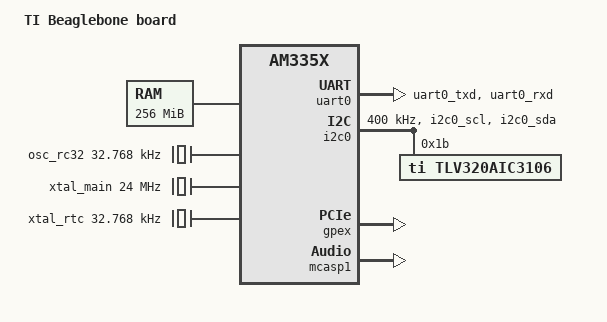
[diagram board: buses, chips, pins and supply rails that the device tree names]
/*
 * beaglebone.dts
 *
 *  Created on: Feb 6, 2018
 *      Author: Zhengrong Liu<towering@126.com>
 */

/dts-v1/;
#include "skeleton.dtsi"
/ {
        model = "TI Beaglebone board";
        compatible = "ti,am335x";

	aliases {
		serial0 = &uart0;
	};

        chosen {
                bootargs = "earlyprintk rdinit=/sbin/init debug";
                stdout-path = "serial0:115200n8";
        };

	memory@8000000 {
		device_type = "memory";
                reg = <0x80000000 0x10000000>; /* 256 MB */
        };

	soc {
		#address-cells = <1>;
		#size-cells = <1>;
		compatible = "simple-bus";
		ranges;
		interrupt-parent = <&intc>;

		intc:interrupt-controller@48200000{
			compatible = "ti,am335x-intc";
			interrupt-controller;
			#interrupt-cells = <2>;
			reg = <0x48200000 0x200>;
		};

		edma:dma@49000000{
			compatible = "ti,am335x-edma";
			reg = <0x49000000 0x10000>;
			interrupts = <12 1>,<13 1>,<14 1>;
			interrupt-names = "ccint","mpint","errint";
			dma-requests = <64>;
			#dma-cells = <1>;
			clocks = <&l3f_gclk>;
			clock-names = "fclk";
		};


		timer0:timer@44e05000{
			compatible = "ti,am335x-timer";
			reg = <0x44e05000 0x60>;
			interrupts = <66 0>;
			status = "disabled";
		};

		timer2:timer@48040000{
			compatible = "ti,am335x-timer";
			reg = <0x48040000 0x1000>;
			interrupts = <68 0>;
			clocks = <&timer2_gfclk>;
			clock-names = "fclk";
		};

		uart0:serial@44e09000{
			compatible = "ti,am335x-uart";
			reg = <0x44e09000 0x100>;
			interrupts = <72 7>;
			clocks = <&uart0_gfclk>;
			clock-names = "fclk";
			status = "disabled";
		};

		i2c0:i2c@44e0b000{
			compatible = "ti,am335x-i2c";
			#address-cells = <1>;
			#size-cells = <0>;
			reg = <0x44e0b000 0x1000>;
			interrupts = <70 6>;
			clocks = <&i2c0_gfclk>;
			clock-names = "fclk";
			status = "disabled";
		};

		gpex:gpex_pcie@c0000000{
			compatible = "pci-host-ecam-generic";
			device_type = "pci";
			#address-cells = <3>;
			#size-cells = <2>;
			bus-range = <0x0 0x1>;

			reg = <0xc0000000 0x01000000>;
			reg-names = "config";

			ranges = <0x02000000 0x0 0xe0000000 0xe0000000 0x0 0x10000000>;
			#interrupt-cells = <1>;
			interrupt-map = <0x0 0x0 0x0 0x1 &intc 15 1
					0x800 0x0 0x0 0x1 &intc 16 1
					0x1000 0x0 0x0 0x1 &intc 17 1
					0x1800 0x0 0x0 0x1 &intc 18 1>;
			interrupt-map-mask = <0xf800 0x0 0x0  0x7>;
		};
/*
		vhci:vhci@48000000{
			compatible = "virtio,platform-vhci";
			interrupts = <23 6>;
			reg = <0x48000000 0x100>;
			status = "okay";
		};
*/


		mcasp0:mcasp@48038000 {
			compatible = "ti,am335x-mcasp","syscon","simple-mfd";
			#sound-dai-cells = <0>;
			reg = <0x48038000 0x2000>;
			reg-names = "mpu";
			interrupts = <80 6>,<81 6>;
			interrupt-names = "tx","rx";
			clocks = <&mcasp0_gfclk>;
			clock-names = "fclk";
			status = "disabled";
		};

		mcasp1:mcasp@4803c000 {
			compatible = "ti,am335x-mcasp";
			#sound-dai-cells = <0>;
			reg = <0x4803c000 0x2000>;
			reg-names = "mpu";
			interrupts = <82 6>,<83 6>;
			interrupt-names = "tx","rx";
			dmas = <&edma 10>,<&edma 11>;
			dma-names = "tx","rx";
			clocks = <&mcasp1_gfclk>;
			clock-names = "fclk";
			status = "disabled";
		};

		prcm:prcm@44e00000{
			compatible = "ti,am335x-prcm","syscon","simple-mfd";
			reg = <0x44e00000 0x2000>;

		};

		cm:cm@44e10000{
			compatible = "ti,am335x-cm","syscon","simple-mfd";
			reg = <0x44e10000 0x2000>;

			pinctrl:pinctrl{
				compatible = "ti,am335x-pinctrl";
				syscon = <&cm>;
			};

		};
		

	};
	
	sound:sound{
	};

	clocks:clocks {
		osc_rc32:osc_rc32{
			compatible = "fixed-clock";
			#clock-cells = <0>;
			clock-frequency = <32768>;
		};
		
	};

};

&clocks{

	dpll_core_clk:dpll_core_clk{
		compatible = "ti,am335x-clk-core-pll";
		#clock-cells = <0>;
		syscon = <&prcm>;
		clocks = <&xtal_main>;
	};

	dpll_core_m4_clk:dpll_core_m4_clk{
		compatible = "ti,am335x-clk-core-pll-clkout";
		#clock-cells = <0>;
		syscon = <&prcm>;
		clocks = <&dpll_core_clk>;

		ti,reg = <0x480> ;

		assigned-clocks = <&dpll_core_m4_clk>;
		assigned-clock-rates = <200000000>;
	};

	l3f_gclk:l3f_gclk{
		compatible = "ti,am335x-clk-gate";
		#clock-cells = <0>;
		syscon = <&prcm>;
		clocks = <&dpll_core_m4_clk>;
		ti,reg = <0xc> ;
		ti,gate-shift = <4>;

	};

        dpll_per_clk:dpll_per_clk{
		compatible = "ti,am335x-clk-per-pll";
		#clock-cells  = <0>;
		syscon = <&prcm>;
		clocks = <&xtal_main>;
        };





	dpll_per_clkout:dpll_per_clkout{
		compatible = "ti,am335x-clk-per-pll-clkout";
		#clock-cells  = <0>;
		syscon = <&prcm>;
		clocks = <&dpll_per_clk>;

		assigned-clocks = <&dpll_per_clk>;
		assigned-clock-rates = <960000000>;
	};

	dpll_per_96M_clk:dpll_per_96M_clk{
		compatible = "fixed-factor-clock";
		#clock-cells = <0>;
		syscon = <&prcm>;
		clock-div = <2>;
		clock-mult = <1>;
		clocks = <&dpll_per_clkout>;

		assigned-clocks = <&dpll_per_clkout>;
		assigned-clock-rates = <192000000>;
	};
	dpll_per_48M_clk:dpll_per_48M_clk{
		compatible = "fixed-factor-clock";
		#clock-cells = <0>;
		syscon = <&prcm>;
		clock-div = <4>;
		clock-mult = <1>;
		clocks = <&dpll_per_clkout>;
	};

	dpll_per_24M_clk:dpll_per_24M_clk{
		compatible = "fixed-factor-clock";
		#clock-cells = <0>;
		syscon = <&prcm>;
		clock-div = <2>;
		clock-mult = <1>;
		clocks = <&dpll_per_48M_clk>;
	};

	i2c0_gfclk:i2c0_gfclk{
		compatible = "ti,am335x-clk-ctrl";
		#clock-cells = <0>;
		syscon = <&prcm>;
		clocks = <&dpll_per_48M_clk>;
		ti,reg = <0x4b8>;
	};

	uart0_gfclk:uart0_gfclk{
		compatible = "ti,am335x-clk-ctrl";
		#clock-cells = <0>;
		syscon = <&prcm>;
		clocks = <&dpll_per_48M_clk>;
		ti,reg = <0x4b4>;
	};

	mcasp0_gfclk:mcasp0_gfclk{
		compatible = "ti,am335x-clk-ctrl";
		#clock-cells = <0>;
		syscon = <&prcm>;
		clocks = <&xtal_main>;
		ti,reg = <0x34>;
	};

	mcasp1_gfclk:mcasp1_gfclk{
		compatible = "ti,am335x-clk-ctrl";
		#clock-cells = <0>;
		syscon = <&prcm>;
		clocks = <&xtal_main>;
		ti,reg = <0x68>;
	};



	timer2_gfclk:timer2_gfclk{
		compatible = "ti,am335x-clk-gate";
		#clock-cells = <0>;
		syscon = <&prcm>;
		clocks = <&timer2_fclk>;
		ti,reg = <0x0> ;
		ti,gate-shift = <14>;

		assigned-clocks = <&timer2_fclk>;
		assigned-clock-parents = <&cm_32K_clk>;
		
	};

	timer2_fclk:timer2_fclk{
		compatible = "ti,am335x-clk-mux";
		#clock-cells = <0>;
		syscon = <&prcm>;
		clocks  = <&ext_tclkin>,<&xtal_main>,<&cm_32K_clk>;
		ti,reg = <0x508 0x4>;
		ti,mux-shift = <0>;
		ti,mux-width = <1>;

		assigned-clocks = <&cm_32K_clk>;
		assigned-clock-rates = <32768>;
	};


};

&clocks{
	cm_32K_clk:cm_32K_clk{
		compatible = "ti,am335x-clk-32K";
		#clock-cells = <0>;
		syscon = <&cm>;
		clocks = <&dpll_per_24M_clk>;
	};

};

&pinctrl{
	pinctrl-names = "default";
	pinctrl-0 = <&hog_pins>;


	hog_pins:hog_pins{

	};

	uart0_pins:uart0_pins{
		txd_pin{
			pins = "uart0_txd";
			function = "uart0_txd";
			ti,pin-mode = <0>;
		};
		rxd_pin{
			pins = "uart0_rxd";
			function = "uart0_rxd";
			ti,pin-mode = <0>;
			input-enable;
		};	
	};

	mcasp1_pins:mcasp1_pins{
	};
	i2c0_pins:i2c0_pins{
		scl_pin {
			pins = "i2c0_scl";
			function = "i2c0_scl";
			ti,pin-mode = <0>;
			input-enable;
			bias-pull-up;
		};
		sda_pin {
			pins = "i2c0_sda";
			function = "i2c0_sda";
			ti,pin-mode = <0>;
			input-enable;
			bias-pull-up;
		};
	};
};


&i2c0{
	pinctrl-names = "default";
	pinctrl-0 = <&i2c0_pins>;

	clock-frequency = <400000>;

	status = "okay";

	
	tlv320aic3106:tlv320aic3106@1b{
		#sound-dai-cells = <0>;
		compatible = "ti,tlv320aic3106";
		reg = <0x1b>;
	};
};

&mcasp1{
	pinctrl-names = "default";
	pinctrl-0 = <&mcasp1_pins>;
	status = "okay";
};

&uart0 {
	pinctrl-names = "default";
	pinctrl-0 = <&uart0_pins>;
	status = "okay";
};

&sound{
	compatible = "simple-audio-card";
	simple-audio-card,name = "on-board";
	simple-audio-card,dai-link@1 {
		dai-tdm-slot-num = <2>;
		dai-tdm-slot-tx-mask = <0 0 1 0>;
		dai-tdm-slot-rx-mask = <0 0 0 1>;
		cpu {
			sound-dai = <&mcasp1>;
		};
		codec {
			sound-dai = <&tlv320aic3106>;
		};
	};

};

&clocks{
	xtal_main:xtal_main {
		compatible = "fixed-clock";
		#clock-cells = <0>;
		clock-frequency = <24000000>;
	};

	xtal_rtc:xtal_rtc{
		compatible = "fixed-clock";
		#clock-cells = <0>;
		clock-frequency = <32768>;
	};

	ext_tclkin:ext_tclkin{
		compatible = "fixed-clock";
		#clock-cells = <0>;
		clock-frequency = <0>;
	};

};

